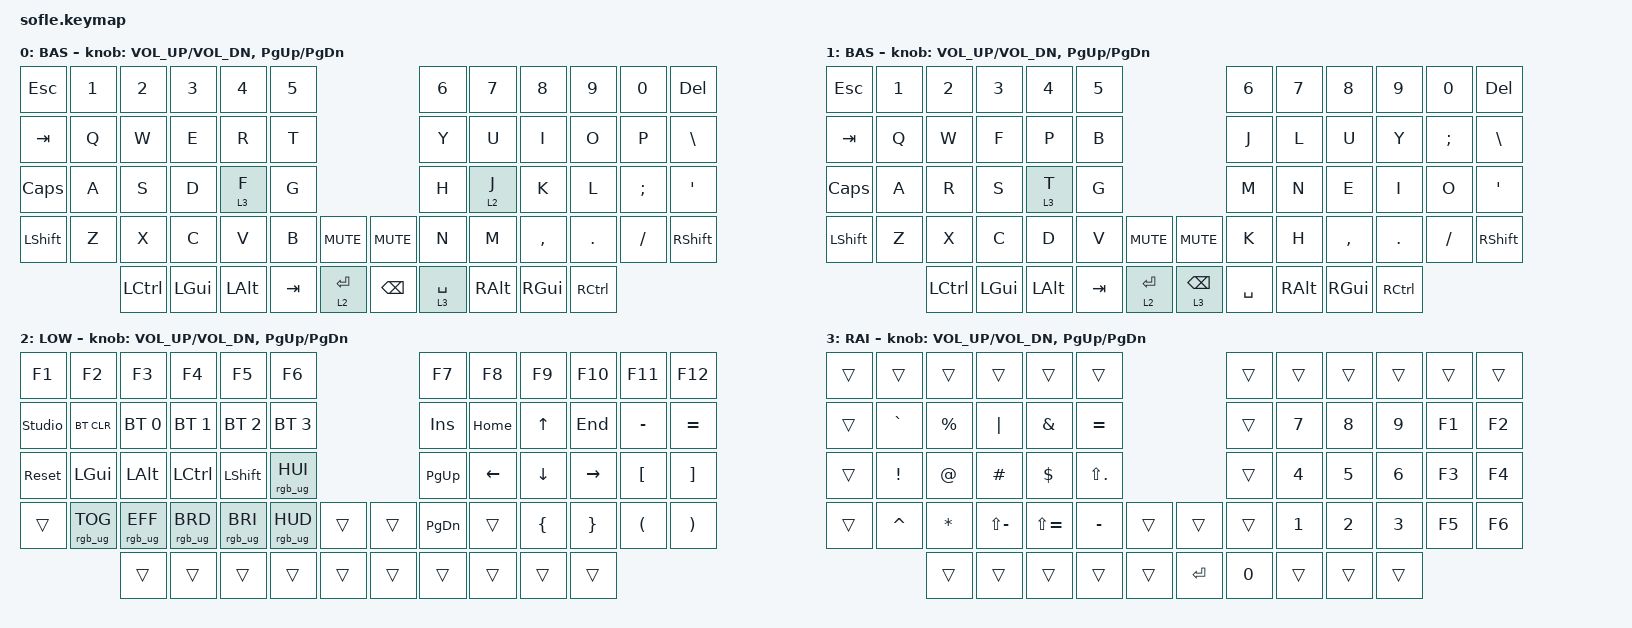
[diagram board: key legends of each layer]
/*
 * Copyright (c) 2020 The ZMK Contributors
 *
 * SPDX-License-Identifier: MIT
 */

#include <dt-bindings/led/led.h>
#include <dt-bindings/zmk/reset.h>
#include <behaviors.dtsi>
#include <dt-bindings/zmk/bt.h>
#include <dt-bindings/zmk/keys.h>
#include <dt-bindings/zmk/rgb.h>

/ {
    combos {
        compatible = "zmk,combos";

        Colemak {
            bindings = <&tog 1>;
            key-positions = <0 11>;
        };
    };

    behaviors {
        uparrow_I: uparrow_I {
            compatible = "zmk,behavior-mod-morph";
            label = "UPARROW_I";
            bindings = <&kp I>, <&kp UP_ARROW>;

            #binding-cells = <0>;
            mods = <(MOD_LALT)>;
            keep-mods = <(MOD_LALT)>;
        };

        leftarrow_J: leftarrow_J {
            compatible = "zmk,behavior-mod-morph";
            label = "LEFTARROW_J";
            bindings = <&kp J>, <&kp LEFT_ARROW>;

            #binding-cells = <0>;
            mods = <(MOD_LALT)>;
            keep-mods = <(MOD_LALT)>;
        };

        rightarrow_L: rightarrow_L {
            compatible = "zmk,behavior-mod-morph";
            label = "RIGHTARROW_L";
            bindings = <&kp L>, <&kp RIGHT_ARROW>;

            #binding-cells = <0>;
            mods = <(MOD_LALT)>;
            keep-mods = <(MOD_LALT)>;
        };

        downarrow_K: downarrow_K {
            compatible = "zmk,behavior-mod-morph";
            label = "DOWNARROW_K";
            bindings = <&kp K>, <&kp DOWN_ARROW>;

            #binding-cells = <0>;
            mods = <(MOD_LALT)>;
            keep-mods = <(MOD_LALT)>;
        };

        HML: HML {
            compatible = "zmk,behavior-hold-tap";
            label = "HML";
            bindings = <&kp>, <&kp>;

            #binding-cells = <2>;
            tapping-term-ms = <200>;
            hold-trigger-on-release;
            hold-trigger-key-positions = <6 6 7 8 9 10 11 18 19 20 21 22 23 30 31 32 33 34 35 44 45 46 47 48 49 56 57 58 59 55 43>;
            flavor = "balanced";
            retro-tap;
            require-prior-idle-ms = <125>;
            quick-tap-ms = <175>;
        };

        lt_thmb: lt_thmb {
            compatible = "zmk,behavior-hold-tap";
            label = "LT_THMB";
            bindings = <&mo>, <&kp>;

            #binding-cells = <2>;
            flavor = "tap-preferred";
            tapping-term-ms = <350>;
            quick-tap-ms = <175>;
        };

        hmlt_l: hmlt_l {
            compatible = "zmk,behavior-hold-tap";
            label = "HMLT_L";
            bindings = <&mo>, <&kp>;

            #binding-cells = <2>;
            tapping-term-ms = <200>;
            hold-trigger-on-release;
            hold-trigger-key-positions = <6 6 7 8 9 10 11 18 19 20 21 22 23 30 31 32 33 34 35 44 45 46 47 48 49 56 57 58 59 55 43>;
            flavor = "balanced";
            retro-tap;
            require-prior-idle-ms = <125>;
            quick-tap-ms = <175>;
        };

        hmlt_r: hmlt_r {
            compatible = "zmk,behavior-hold-tap";
            label = "HMLT_R";
            bindings = <&mo>, <&kp>;

            #binding-cells = <2>;
            tapping-term-ms = <200>;
            hold-trigger-on-release;
            flavor = "balanced";
            retro-tap;
            require-prior-idle-ms = <125>;
            quick-tap-ms = <175>;
            hold-trigger-key-positions = <0 1 12 13 14 15 16 17 24 25 26 27 28 29 36 37 38 39 40 41 42 50 51 52 53 54 2 3 4 5>;
        };
    };

    keymap {
        compatible = "zmk,keymap";

        default_layer {
            display-name = "BAS";

            // ------------------------------------------------------------------------------------------------------------
            // |  `    |  1  |  2  |  3   |  4   |  5   |                   |  6   |  7    |  8    |  9   |   0   |       |
            // |  ESC  |  Q  |  W  |  E   |  R   |  T   |                   |  Y   |  U    |  I    |  O   |   P   | BKSPC |
            // |  TAB  |  A  |  S  |  D   |  F   |  G   |                   |  H   |  J    |  K    |  L   |   ;   |   '   |
            // | SHIFT |  Z  |  X  |  C   |  V   |  B   |  MUTE  |  |       |  N   |  M    |  ,    |  .   |   /   | SHIFT |
            //               | GUI | ALT  | CTRL | LOWER|  ENTER |  | SPACE | RAISE| CTRL  | ALT   | GUI  |

            bindings = <
&kp ESC         &kp N1  &kp N2     &kp N3        &kp N4        &kp N5                                    &kp N6       &kp N7         &kp N8         &kp N9     &kp N0    &kp DEL
&kp TAB         &kp Q   &kp W      &kp E         &kp R         &kp T                                     &kp Y        &kp U          &kp I          &kp O      &kp P     &kp BACKSLASH
&kp CAPSLOCK    &kp A   &kp S      &kp D         &lt 3 F       &kp G                                     &kp H        &lt 2 J        &kp K          &kp L      &kp SEMI  &kp APOSTROPHE
&kp LEFT_SHIFT  &kp Z   &kp X      &kp C         &kp V         &kp B    &kp C_MUTE        &kp C_MUTE     &kp N        &kp M          &kp COMMA      &kp DOT    &kp FSLH  &kp RSHIFT
                        &kp LCTRL  &kp LEFT_GUI  &kp LEFT_ALT  &kp TAB  &lt_thmb 2 RET    &kp BACKSPACE  &lt 3 SPACE  &kp RIGHT_ALT  &kp RIGHT_GUI  &kp RCTRL
            >;

            sensor-bindings = <&inc_dec_kp C_VOL_UP C_VOL_DN &inc_dec_kp PG_UP PG_DN>;
        };

        Colemak {
            display-name = "BAS";
            bindings = <
&kp ESC         &kp N1  &kp N2            &kp N3        &kp N4        &kp N5                                  &kp N6     &kp N7         &kp N8         &kp N9             &kp N0         &kp DEL
&kp TAB         &kp Q   &kp W             &kp F         &kp P         &kp B                                   &kp J      &kp L          &kp U          &kp Y              &kp SEMICOLON  &kp BACKSLASH
&kp CAPSLOCK    &kp A   &kp R             &kp S         &lt 3 T       &kp G                                   &kp M      &kp N          &kp E          &kp I              &kp O          &kp APOSTROPHE
&kp LEFT_SHIFT  &kp Z   &kp X             &kp C         &kp D         &kp V    &kp C_MUTE    &kp C_MUTE       &kp K      &kp H          &kp COMMA      &kp DOT            &kp FSLH       &kp RSHIFT
                        &kp LEFT_CONTROL  &kp LEFT_GUI  &kp LEFT_ALT  &kp TAB  &lt 2 RET     &lt 3 BACKSPACE  &kp SPACE  &kp RIGHT_ALT  &kp RIGHT_GUI  &kp RIGHT_CONTROL
            >;

            sensor-bindings =
                <&inc_dec_kp C_VOL_UP C_VOL_DN>,
                <&inc_dec_kp PG_UP PG_DN>;

            label = "CMKDH";
        };

        lower_layer {
            display-name = "LOW";

            // ------------------------------------------------------------------------------------------------------------
            // |       |  F1 |  F2 |  F3  |  F4  |  F5  |                   |  F6  |  F7   |  F8   |  F9  |  F10  |  F11  |
            // | `     |   1 |   2 |   3  |   4  |   5  |                   |   6  |   7   |   8   |   9  |    0  |  F12  |
            // |       |BTCLR| BT1 | BT2  | BT3  | BT4  |                   | LEFT | DOWN  |  UP   | RIGHT |  INS  |PRINTSCREEN|
            // |       |     | HOME| PGUP | PGDN | END  |        |  |       | UNDO |  CUT  | COPY  | PASTE |  DEL  |    BKSP   |
            //               |     |      |      |      |        |  |       |      |       |       |      |

            bindings = <
&kp F1          &kp F2           &kp F3           &kp F4           &kp F5           &kp F6                             &kp F7         &kp F8    &kp F9          &kp F10          &kp F11               &kp F12
&studio_unlock  &bt BT_CLR       &bt BT_SEL 0     &bt BT_SEL 1     &bt BT_SEL 2     &bt BT_SEL 3                       &kp INSERT     &kp HOME  &kp UP          &kp END          &kp MINUS             &kp EQUAL
&sys_reset      &kp LEFT_GUI     &kp LEFT_ALT     &kp LCTRL        &kp LEFT_SHIFT   &rgb_ug RGB_HUI                    &kp PAGE_UP    &kp LEFT  &kp DOWN        &kp RIGHT        &kp LEFT_BRACKET      &kp RIGHT_BRACKET
&trans          &rgb_ug RGB_TOG  &rgb_ug RGB_EFF  &rgb_ug RGB_BRD  &rgb_ug RGB_BRI  &rgb_ug RGB_HUD  &trans    &trans  &kp PAGE_DOWN  &trans    &kp LEFT_BRACE  &kp RIGHT_BRACE  &kp LEFT_PARENTHESIS  &kp RIGHT_PARENTHESIS
                                 &trans           &trans           &trans           &trans           &trans    &trans  &trans         &trans    &trans          &trans
            >;

            sensor-bindings = <&inc_dec_kp C_VOL_UP C_VOL_DN &inc_dec_kp PG_UP PG_DN>;
        };

        raise_layer {
            display-name = "RAI";

            // ------------------------------------------------------------------------------------------------------------
            // |     |       |       |       |       |       |                |      |      |       |      |       |       |
            // |     |   !   |   @   |   #   |   $   |   %   |                |   ^  |  &   |   *   |   (  |   )   |       |
            // |     |RGB_TOG|RGB_HUI|RGB_SAI|RGB_BRI|       |                |   -  |   =  |   [   |   ]  |   \   | GRAVE |
            // |     |RGB_EFF|RGB_HUD|RGB_SAD|RGB_BRD|QK_BOOT|      |  |      |   _  |   +  |   {   |   }  |   |   |   ~   |
            //              |      |       |       |      |      |  |      |      |      |       |      |

            bindings = <
&trans  &trans     &trans     &trans         &trans         &trans                          &trans  &trans  &trans  &trans  &trans  &trans
&trans  &kp GRAVE  &kp PRCNT  &kp PIPE       &kp AMPS       &kp EQUAL                       &trans  &kp N7  &kp N8  &kp N9  &kp F1  &kp F2
&trans  &kp EXCL   &kp AT     &kp HASH       &kp DLLR       &kp LS(DOT)                     &trans  &kp N4  &kp N5  &kp N6  &kp F3  &kp F4
&trans  &kp CARET  &kp ASTRK  &kp LS(MINUS)  &kp LS(EQUAL)  &kp MINUS    &trans    &trans   &trans  &kp N1  &kp N2  &kp N3  &kp F5  &kp F6
                   &trans     &trans         &trans         &trans       &trans    &kp RET  &kp N0  &trans  &trans  &trans
            >;

            sensor-bindings = <&inc_dec_kp C_VOL_UP C_VOL_DN &inc_dec_kp PG_UP PG_DN>;
        };
    };
};
